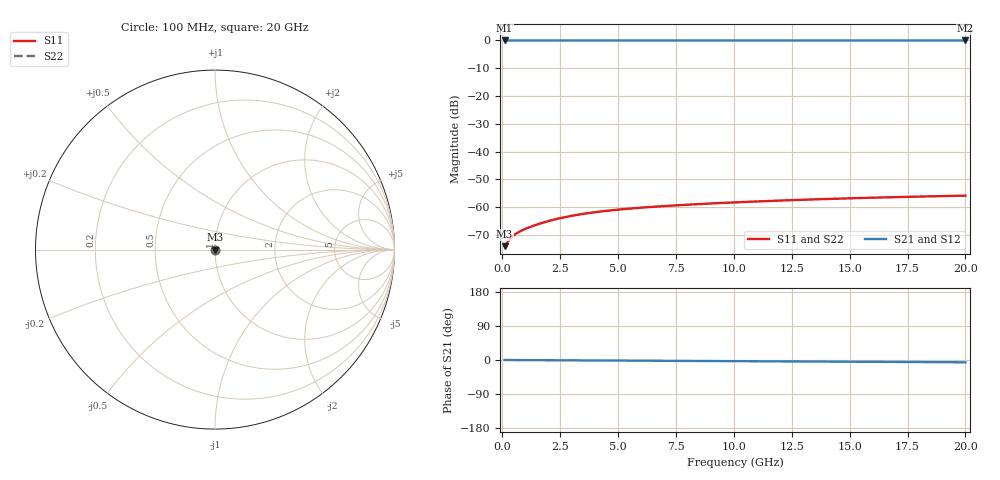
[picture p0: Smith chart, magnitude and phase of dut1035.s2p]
! Touchstone file exported from HFSS 2026.1.0
!  File:  C:/ffzhzh/LocalFiles/Ansys_Project_Files/temp_train_TSV_1035_1783189124_18472.aedt
!  Generated:  02:20:29 AM Jul  5, 2026
!  Design:  TSV
!  Project:  temp_train_TSV_1035_1783189124_18472
! Variables:
!  h_bsmrdl = 2um
!  h_ox = 20um
!  h_rdl = 5um
!  h_sub = 61.52um
!  h_tmrdl = 5um
!  h_tsv = 61.52um
!  h_via = 3um
!  l_bsmrdl = 300um
!  l_sub = 413.58um
!  l_tmrdl = 200um
!  m_sub = 200um
!  pitch = 27.75um
!  r_tsv = 6.79um
!  s_tmrdl = 10um
!  w_bsmrdl = 18um
!  w_sub = 500um
!  w_tmrdl = 12um
!  x_tsv_center1 = 206um
!  x_tsv_center2 = 524um
!  x_tsv_center3 = 736um
!  x_tsv_center4 = 1054um
!  x_tsv_center5 = 1266um
!  x_tsv_center6 = 1584um
# GHz S MA R 50.000000
! Terminal data exported
! Port[1] = TSV1_1_T1
! Port[2] = TSV1_1_T2
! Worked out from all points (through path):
!   200 points, 100 MHz to 20 GHz, reference 50 ohm
!   highest |S21| = 0.00 dB at 100 MHz (marker M1); lowest = 0.0 dB at 20 GHz (marker M2)
!   lowest |S11| = -74.0 dB at 100 MHz (marker M3), VSWR 1.00, Z = 50 + j0.00463 ohm
!   |S11| at or under -10 dB: start of sweep to end of sweep
!   |S22| runs from -74.0 to -55.8 dB; largest |S21 - S12| = 2.2e-15
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0.1  0.0001991 13.4  0.9998 -0.0  0.9998 -0.0  0.0001991 13.4
! Gamma 0 0 0 0
! Port Impedance 50 0 50 0
0.3  0.0002579 27.3  0.9998 -0.1  0.9998 -0.1  0.0002579 27.3
0.4  0.0002873 29.8  0.9998 -0.1  0.9998 -0.1  0.0002872 29.8
0.5  0.000313 31.2  0.9997 -0.2  0.9997 -0.2  0.000313 31.2
0.6  0.0003355 32.2  0.9997 -0.2  0.9997 -0.2  0.0003354 32.2
0.7  0.0003555 33.1  0.9997 -0.2  0.9997 -0.2  0.0003554 33.0
1  0.000408 35.2  0.9996 -0.3  0.9996 -0.3  0.0004079 35.2
1.2  0.0004404 36.4  0.9996 -0.4  0.9996 -0.4  0.0004403 36.5
1.5  0.0004877 37.9  0.9996 -0.5  0.9996 -0.5  0.0004876 37.9
2.1  0.0005787 39.3  0.9995 -0.7  0.9995 -0.7  0.0005787 39.3
2.4  0.0006217 39.5  0.9995 -0.7  0.9995 -0.7  0.0006217 39.5
2.8  0.0006756 39.4  0.9995 -0.9  0.9995 -0.9  0.0006756 39.4
3.5  0.00076 38.6  0.9994 -1.1  0.9994 -1.1  0.00076 38.6
4.2  0.0008328 37.5  0.9993 -1.3  0.9993 -1.3  0.0008328 37.5
4.9  0.0008961 36.4  0.9993 -1.5  0.9993 -1.5  0.000896 36.4
5.8  0.0009669 35.1  0.9992 -1.8  0.9992 -1.8  0.0009669 35.1
6.8  0.001036 33.8  0.9992 -2.1  0.9992 -2.1  0.001036 33.8
8.3  0.001127 32.1  0.9991 -2.5  0.9991 -2.5  0.001127 32.1
10.1  0.001225 30.3  0.999 -3.1  0.999 -3.1  0.001225 30.3
13.4  0.00138 27.0  0.9988 -4.1  0.9988 -4.1  0.00138 27.0
16.7  0.00151 23.6  0.9987 -5.1  0.9987 -5.1  0.001509 23.6
20  0.001615 20.2  0.9985 -6.0  0.9985 -6.0  0.001615 20.2
